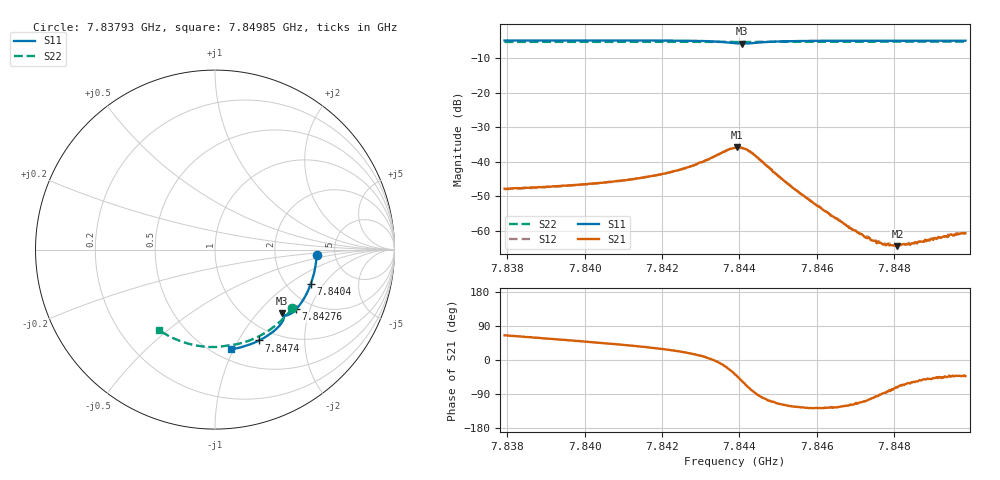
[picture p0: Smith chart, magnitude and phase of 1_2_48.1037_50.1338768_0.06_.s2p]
#  HZ  S  RI  R  50.00
! Rohde & Schwarz Vector Network Analyzer
! Rohde-Schwarz,ZNB20-2Port,1311601062101988,3.16
! Created: UTC 12/23/2023, 3:34:39 AM
! freq[Hz]  re:S11  im:S11  re:S21  im:S21  re:S12  im:S12  re:S22  im:S22
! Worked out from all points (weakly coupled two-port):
!   401 points, 7.83793 GHz to 7.84985 GHz, reference 50 ohm
!   highest |S21| = -35.81 dB at 7.84395 GHz (marker M1); lowest = -64.4 dB at 7.84809 GHz (marker M2)
!   lowest |S11| = -5.8 dB at 7.84407 GHz (marker M3), VSWR 3.09, Z = 71 - j67.7 ohm
!   |S11| at or under -10 dB: nowhere
!   |S22| runs from -5.4 to -5.3 dB; largest |S21 - S12| = 0.00031
!   S11 on the Smith chart (normalised r, x): 7.83793 GHz: 3.59, -0.29; 7.8404 GHz: 2.69, -1.50; 7.84276 GHz: 1.66, -1.62; 7.8474 GHz: 0.83, -1.23; 7.84985 GHz: 0.60, -0.98
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7.83793e9  0.5661 -0.0273  0.00171 0.0037  0.0017 0.00364  0.4311 -0.3253
7.839926e9  0.5446 -0.1586  0.00307 0.00357  0.00303 0.00355  0.3341 -0.4253
7.840403e9  0.5344 -0.1894  0.0035 0.00352  0.00346 0.00345  0.3071 -0.4454
7.841922e9  0.4891 -0.2838  0.00563 0.00327  0.00561 0.00326  0.214 -0.4974
7.842756e9  0.4514 -0.333  0.00827 0.00252  0.00824 0.00251  0.1589 -0.5177
7.843441e9  0.4055 -0.3647  0.0127 -0.00108  0.0126 -0.00125  0.112 -0.5289
7.843709e9  0.3835 -0.3662  0.0138 -0.00568  0.0138 -0.00557  0.0938 -0.5314
7.843888e9  0.3726 -0.3599  0.0125 -0.00981  0.0126 -0.00973  0.0823 -0.5326
7.843948e9  0.3709 -0.3571  0.0117 -0.0112  0.0116 -0.011  0.0785 -0.5331
7.844067e9  0.3705 -0.3524  0.00907 -0.013  0.00915 -0.013  0.071 -0.5342
7.844186e9  0.3744 -0.3501  0.00575 -0.014  0.00598 -0.014  0.0637 -0.5354
7.844395e9  0.3827 -0.3563  0.000912 -0.0125  0.000829 -0.0126  0.0503 -0.5379
7.845229e9  0.3672 -0.4142  -0.00247 -0.00426  -0.00247 -0.00429  -0.00821 -0.543
7.845884e9  0.334 -0.4489  -0.00159 -0.0021  -0.00157 -0.00214  -0.0544 -0.541
7.846927e9  0.2746 -0.4908  -0.000479 -0.000923  -0.000478 -0.000948  -0.1271 -0.5296
7.847403e9  0.2459 -0.5063  -0.000157 -0.00072  -0.000162 -0.000729  -0.1594 -0.5209
7.847701e9  0.2276 -0.5149  1.88e-05 -0.000641  2.2e-06 -0.00066  -0.1794 -0.5146
7.84788e9  0.2166 -0.5198  0.000111 -0.00061  0.000124 -0.000651  -0.1911 -0.5104
7.848089e9  0.2036 -0.525  0.000183 -0.000575  0.000229 -0.000584  -0.2048 -0.5051
7.848565e9  0.1734 -0.5356  0.000378 -0.000575  0.000344 -0.000567  -0.2356 -0.492
7.848982e9  0.1468 -0.5436  0.000505 -0.000595  0.000514 -0.000557  -0.2616 -0.4789
7.849846e9  0.0904 -0.5554  0.000684 -0.000624  0.000717 -0.000618  -0.3133 -0.4472
